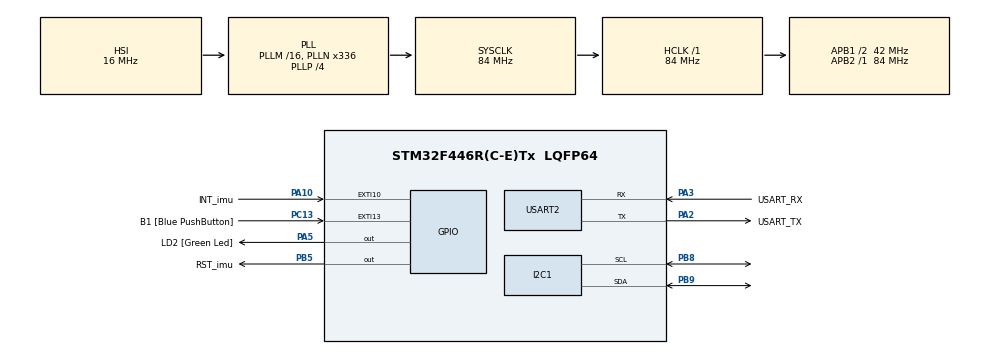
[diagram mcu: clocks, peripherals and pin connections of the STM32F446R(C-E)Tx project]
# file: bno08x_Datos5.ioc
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I2C1.I2C_Mode=I2C_Fast
Mcu.Family=STM32F4
Mcu.Name=STM32F446R(C-E)Tx
Mcu.Package=LQFP64
NVIC.EXTI15_10_IRQn=true\:0\:0\:false\:false\:true\:true\:true\:true
NVIC.PriorityGroup=NVIC_PRIORITYGROUP_0
PA10.GPIO_Label=INT_imu
PA10.GPIO_ModeDefaultEXTI=GPIO_MODE_IT_FALLING
PA10.GPIO_PuPd=GPIO_PULLUP
PA10.Signal=GPXTI10
PA13.GPIO_Label=TMS
PA13.Mode=Serial_Wire
PA13.Signal=SYS_JTMS-SWDIO
PA14.GPIO_Label=TCK
PA14.Mode=Serial_Wire
PA14.Signal=SYS_JTCK-SWCLK
PA2.GPIO_Label=USART_TX
PA2.Mode=Asynchronous
PA2.Signal=USART2_TX
PA3.GPIO_Label=USART_RX
PA3.Mode=Asynchronous
PA3.Signal=USART2_RX
PA5.GPIO_Label=LD2 [Green Led]
PA5.Signal=GPIO_Output
PB3.GPIO_Label=SWO
PB3.Signal=SYS_JTDO-SWO
PB5.GPIO_Label=RST_imu
PB5.Signal=GPIO_Output
PB8.Mode=I2C
PB8.Signal=I2C1_SCL
PB9.Mode=I2C
PB9.Signal=I2C1_SDA
PC13.GPIO_Label=B1 [Blue PushButton]
PC13.GPIO_ModeDefaultEXTI=GPIO_MODE_IT_FALLING
PC13.Signal=GPXTI13
PC14-OSC32_IN.Mode=LSE-External-Oscillator
PC14-OSC32_IN.Signal=RCC_OSC32_IN
PC15-OSC32_OUT.Mode=LSE-External-Oscillator
PC15-OSC32_OUT.Signal=RCC_OSC32_OUT
PH0-OSC_IN.Mode=HSE-External-Oscillator
PH0-OSC_IN.Signal=RCC_OSC_IN
PH1-OSC_OUT.Mode=HSE-External-Oscillator
PH1-OSC_OUT.Signal=RCC_OSC_OUT
ProjectManager.HeapSize=0x200
ProjectManager.StackSize=0x400
ProjectManager.TargetToolchain=STM32CubeIDE
RCC.48MHZClocksFreq_Value=84000000
RCC.AHBFreq_Value=84000000
RCC.APB1CLKDivider=RCC_HCLK_DIV2
RCC.APB1Freq_Value=42000000
RCC.APB1TimFreq_Value=84000000
RCC.APB2Freq_Value=84000000
RCC.APB2TimFreq_Value=84000000
RCC.CortexFreq_Value=84000000
RCC.FLatency-AdvancedSettings=FLASH_LATENCY_2
RCC.HCLKFreq_Value=84000000
RCC.HSE_VALUE=8000000
RCC.HSI_VALUE=16000000
RCC.PLLN=336
RCC.PLLP=RCC_PLLP_DIV4
RCC.SYSCLKFreq_VALUE=84000000
RCC.SYSCLKSource=RCC_SYSCLKSOURCE_PLLCLK
RCC.USBFreq_Value=168000000
RCC.VCOOutputFreq_Value=336000000
USART2.VirtualMode=VM_ASYNC
board=NUCLEO-F446RE

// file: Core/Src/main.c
/* USER CODE BEGIN Header */
/**
  ******************************************************************************
  * @file           : main.c
  * @brief          : Main program body
  ******************************************************************************
  * @attention
  *
  * Copyright (c) 2026 STMicroelectronics.
  * All rights reserved.
  *
  * This software is licensed under terms that can be found in the LICENSE file
  * in the root directory of this software component.
  * If no LICENSE file comes with this software, it is provided AS-IS.
  *
  ******************************************************************************
  */
/* USER CODE END Header */
#include "main.h"
#include "i2c.h"
#include "usart.h"
#include "gpio.h"

/* USER CODE BEGIN Includes */
#include "sh2.h"
#include "sh2_SensorValue.h"
#include "sh2_err.h"
#include <stdio.h>
#include <math.h>
#include <stdlib.h>
#include <stdbool.h>

/* USER CODE END Includes */

/* USER CODE BEGIN PD */
#define ACC_STILL_THRESHOLD   50     // mm/s²  (antes era muy chico)
#define STILL_COUNT_MAX      5
#define VEL_ZERO_THRESHOLD   5      // mm/s → todo menor a esto = 0

/* USER CODE END PD */

/* USER CODE BEGIN PV */
volatile float heading, roll, pitch;
volatile int print_flag = 0;

/* aceleración lineal (m/s²) */
volatile float lin_ax, lin_ay, lin_az;

/* velocidad integrada (mm/s * 1000) */
volatile int32_t velX_mm = 0;
volatile int32_t velY_mm = 0;
volatile int32_t velZ_mm = 0;
volatile uint16_t still_cnt = 0;

/* USER CODE END PV */

void SystemClock_Config(void);
/* USER CODE BEGIN PFP */
void sensorCallback(void *cookie, sh2_SensorEvent_t *event);
static inline void split_float(float v, int *i, int *f);
/* USER CODE END PFP */

int main(void)
{

  /* MCU Configuration--------------------------------------------------------*/

  /* Reset of all peripherals, Initializes the Flash interface and the Systick. */
  HAL_Init();

  /* Configure the system clock */
  SystemClock_Config();

  /* Initialize all configured peripherals */
  MX_GPIO_Init();
  MX_USART2_UART_Init();
  MX_I2C1_Init();
  /* USER CODE BEGIN 2 */
  sh2_hal_init();

  sh2_setSensorCallback(sensorCallback, NULL);
  int status;
  sh2_SensorConfig_t cfg;
  cfg.changeSensitivityEnabled = false;
  cfg.changeSensitivityRelative = false;
  cfg.wakeupEnabled = false;
  cfg.alwaysOnEnabled = false;
  cfg.changeSensitivity = 0;
  cfg.reportInterval_us = 5000; // 200 Hz

  // Configurar orientación absoluta (Rotation Vector)
  sh2_SensorConfig_t cfg_rv = cfg;
  cfg_rv.reportInterval_us = 10000;   // 100 Hz para orientación

  status = sh2_setSensorConfig(SH2_ROTATION_VECTOR, &cfg_rv);
  if (status != SH2_OK)
  {
      Error_Handler();
  }
  sh2_SensorConfig_t cfg_la = cfg;
  cfg_la.reportInterval_us = 5000; // 200 Hz

  status = sh2_setSensorConfig(SH2_LINEAR_ACCELERATION, &cfg_la);
  if (status != SH2_OK)
  {
      Error_Handler();
  }

  /* USER CODE END 2 */

  /* Infinite loop */
  while (1)
  {
	  sh2_service();
	  if (print_flag)
	  {
	      print_flag = 0;

	      char buffer[128];
	      int r_i, r_f, p_i, p_f, y_i, y_f;

	      split_float(roll,    &r_i,  &r_f);
	      split_float(pitch,   &p_i,  &p_f);
	      split_float(heading, &y_i,  &y_f);
	      int vx_i = velX_mm / 1000;
	      int vx_f = labs(velX_mm % 1000);

	      int vy_i = velY_mm / 1000;
	      int vy_f = labs(velY_mm % 1000);

	      int vz_i = velZ_mm / 1000;
	      int vz_f = labs(velZ_mm % 1000);

	      int len = snprintf(buffer, sizeof(buffer),
	          "@imu:%d.%03d;%d.%03d;%d.%03d;%d.%03d;%d.%03d;%d.%03d;;\r\n",
	          r_i,  r_f,
	          p_i,  p_f,
	          y_i,  y_f,
	          vx_i, vx_f,
	          vy_i, vy_f,
	          vz_i, vz_f
	      );

	      HAL_UART_Transmit(&huart2, (uint8_t*)buffer, len, HAL_MAX_DELAY);

	  }

  }
}

void SystemClock_Config(void)
{
  RCC_OscInitTypeDef RCC_OscInitStruct = {0};
  RCC_ClkInitTypeDef RCC_ClkInitStruct = {0};

  /** Configure the main internal regulator output voltage
  */
  __HAL_RCC_PWR_CLK_ENABLE();
  __HAL_PWR_VOLTAGESCALING_CONFIG(PWR_REGULATOR_VOLTAGE_SCALE3);

  /** Initializes the RCC Oscillators according to the specified parameters
  * in the RCC_OscInitTypeDef structure.
  */
  RCC_OscInitStruct.OscillatorType = RCC_OSCILLATORTYPE_HSI;
  RCC_OscInitStruct.HSIState = RCC_HSI_ON;
  RCC_OscInitStruct.HSICalibrationValue = RCC_HSICALIBRATION_DEFAULT;
  RCC_OscInitStruct.PLL.PLLState = RCC_PLL_ON;
  RCC_OscInitStruct.PLL.PLLSource = RCC_PLLSOURCE_HSI;
  RCC_OscInitStruct.PLL.PLLM = 16;
  RCC_OscInitStruct.PLL.PLLN = 336;
  RCC_OscInitStruct.PLL.PLLP = RCC_PLLP_DIV4;
  RCC_OscInitStruct.PLL.PLLQ = 2;
  RCC_OscInitStruct.PLL.PLLR = 2;
  if (HAL_RCC_OscConfig(&RCC_OscInitStruct) != HAL_OK)
  {
    Error_Handler();
  }

  /** Initializes the CPU, AHB and APB buses clocks
  */
  RCC_ClkInitStruct.ClockType = RCC_CLOCKTYPE_HCLK|RCC_CLOCKTYPE_SYSCLK
                              |RCC_CLOCKTYPE_PCLK1|RCC_CLOCKTYPE_PCLK2;
  RCC_ClkInitStruct.SYSCLKSource = RCC_SYSCLKSOURCE_PLLCLK;
  RCC_ClkInitStruct.AHBCLKDivider = RCC_SYSCLK_DIV1;
  RCC_ClkInitStruct.APB1CLKDivider = RCC_HCLK_DIV2;
  RCC_ClkInitStruct.APB2CLKDivider = RCC_HCLK_DIV1;

  if (HAL_RCC_ClockConfig(&RCC_ClkInitStruct, FLASH_LATENCY_2) != HAL_OK)
  {
    Error_Handler();
  }
}

/* USER CODE BEGIN 4 */

void sensorCallback(void *cookie, sh2_SensorEvent_t *event)
{
    sh2_SensorValue_t value;

    if (sh2_decodeSensorEvent(&value, event) != SH2_OK)
        return;

    switch (value.sensorId)
    {
		case SH2_LINEAR_ACCELERATION:
		{
			/* Aceleración lineal (m/s²) */
			lin_ax = value.un.linearAcceleration.x;
			lin_ay = value.un.linearAcceleration.y;
			lin_az = value.un.linearAcceleration.z;

			/* Convertir a mm/s² */
			int32_t ax_mm_s2 = (int32_t)(lin_ax * 1000.0f);
			int32_t ay_mm_s2 = (int32_t)(lin_ay * 1000.0f);
			int32_t az_mm_s2 = (int32_t)(lin_az * 1000.0f);

			/* ===== DETECCIÓN DE REPOSO ===== */
			bool is_still =
				(abs(ax_mm_s2) < ACC_STILL_THRESHOLD) &&
				(abs(ay_mm_s2) < ACC_STILL_THRESHOLD) &&
				(abs(az_mm_s2) < ACC_STILL_THRESHOLD);

			if (is_still)
			{
				still_cnt++;
				if (still_cnt >= STILL_COUNT_MAX)
				{
					velX_mm = 0;
					velY_mm = 0;
					velZ_mm = 0;
				}
			}
			else
			{
				still_cnt = 0;

				/* Integración (Δt = 5 ms) */
				velX_mm += (ax_mm_s2 * 5) / 1000;
				velY_mm += (ay_mm_s2 * 5) / 1000;
				velZ_mm += (az_mm_s2 * 5) / 1000;
			}

			/* ===== DEAD-BAND DE VELOCIDAD ===== */
			if (abs(velX_mm) < VEL_ZERO_THRESHOLD) velX_mm = 0;
			if (abs(velY_mm) < VEL_ZERO_THRESHOLD) velY_mm = 0;
			if (abs(velZ_mm) < VEL_ZERO_THRESHOLD) velZ_mm = 0;

			break;
		}

        case SH2_ROTATION_VECTOR:
        {
            float qw = value.un.rotationVector.real;
            float qx = value.un.rotationVector.i;
            float qy = value.un.rotationVector.j;
            float qz = value.un.rotationVector.k;

            roll  = atan2f(2.0f*(qw*qx + qy*qz),
                            1.0f - 2.0f*(qx*qx + qy*qy)) * 57.2958f;

            pitch = asinf (2.0f*(qw*qy - qz*qx)) * 57.2958f;

            heading = atan2f(2.0f*(qw*qz + qx*qy),
                              1.0f - 2.0f*(qy*qy + qz*qz)) * 57.2958f;

            print_flag = 1;
            break;
        }

        default:
            break;
    }
}

void HAL_GPIO_EXTI_Callback(uint16_t GPIO_Pin)
{
	if(GPIO_Pin == B1_Pin)
	{
		HAL_GPIO_TogglePin(GPIOA, LD2_Pin);
	}
	if(GPIO_Pin == INT_imu_Pin)
	{
		HAL_GPIO_TogglePin(GPIOA, LD2_Pin);
	}

	}

static inline void split_float(float v, int *i, int *f)
{
    *i = (int)v;
    *f = (int)fabsf((v - *i) * 1000.0f);
}

/* USER CODE END 4 */

void Error_Handler(void)
{
  __disable_irq();
  while (1)
  {
  }
}
